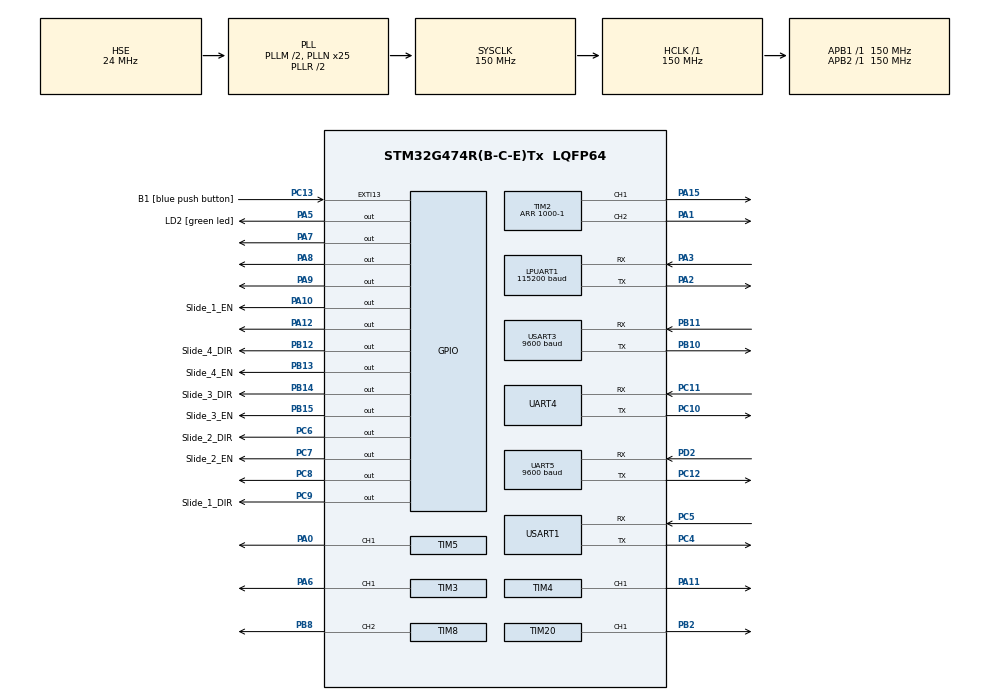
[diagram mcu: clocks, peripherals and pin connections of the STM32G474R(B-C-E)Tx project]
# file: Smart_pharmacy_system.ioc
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LPUART1.BaudRate=115200
Mcu.Family=STM32G4
Mcu.Name=STM32G474R(B-C-E)Tx
Mcu.Package=LQFP64
NVIC.EXTI15_10_IRQn=true\:0\:0\:false\:false\:true\:true\:true\:true
NVIC.LPUART1_IRQn=true\:0\:0\:false\:false\:true\:true\:true\:true
NVIC.PriorityGroup=NVIC_PRIORITYGROUP_4
NVIC.TIM1_CC_IRQn=true\:0\:0\:false\:false\:true\:true\:true\:true
NVIC.TIM20_BRK_IRQn=true\:0\:0\:false\:false\:true\:true\:true\:true
NVIC.TIM20_CC_IRQn=true\:0\:0\:false\:false\:true\:true\:true\:true
NVIC.TIM20_TRG_COM_IRQn=true\:0\:0\:false\:false\:true\:true\:true\:true
NVIC.TIM20_UP_IRQn=true\:0\:0\:false\:false\:true\:true\:true\:true
NVIC.TIM2_IRQn=true\:0\:0\:false\:false\:true\:true\:true\:true
NVIC.TIM3_IRQn=true\:0\:0\:false\:false\:true\:true\:true\:true
NVIC.TIM4_IRQn=true\:0\:0\:true\:false\:true\:true\:true\:true
NVIC.TIM5_IRQn=true\:0\:0\:false\:false\:true\:true\:true\:true
NVIC.TIM8_BRK_IRQn=true\:0\:0\:false\:false\:true\:true\:true\:true
NVIC.TIM8_CC_IRQn=true\:0\:0\:false\:false\:true\:true\:true\:true
NVIC.TIM8_TRG_COM_IRQn=true\:0\:0\:false\:false\:true\:true\:true\:true
NVIC.TIM8_UP_IRQn=true\:0\:0\:false\:false\:true\:true\:true\:true
NVIC.UART4_IRQn=true\:2\:0\:true\:false\:true\:true\:true\:true
NVIC.USART1_IRQn=true\:2\:0\:true\:false\:true\:true\:true\:true
NVIC.USART3_IRQn=true\:0\:0\:false\:false\:true\:true\:true\:true
PA0.Signal=S_TIM5_CH1
PA1.Signal=S_TIM2_CH2
PA10.GPIO_Label=Slide_1_EN
PA10.Signal=GPIO_Output
PA11.Signal=S_TIM4_CH1
PA12.Signal=GPIO_Output
PA13.GPIO_Label=T_SWDIO
PA13.Mode=Serial_Wire
PA13.Signal=SYS_JTMS-SWDIO
PA14.GPIO_Label=T_SWCLK
PA14.Mode=Serial_Wire
PA14.Signal=SYS_JTCK-SWCLK
PA15.Signal=S_TIM2_CH1
PA2.Mode=Asynchronous
PA2.Signal=LPUART1_TX
PA3.Mode=Asynchronous
PA3.Signal=LPUART1_RX
PA5.GPIO_Label=LD2 [green led]
PA5.Signal=GPIO_Output
PA6.Signal=S_TIM3_CH1
PA7.Signal=GPIO_Output
PA8.Signal=GPIO_Output
PA9.Signal=GPIO_Output
PB10.Mode=Asynchronous
PB10.Signal=USART3_TX
PB11.Mode=Asynchronous
PB11.Signal=USART3_RX
PB12.GPIO_Label=Slide_4_DIR
PB12.Signal=GPIO_Output
PB13.GPIO_Label=Slide_4_EN
PB13.Signal=GPIO_Output
PB14.GPIO_Label=Slide_3_DIR
PB14.Signal=GPIO_Output
PB15.GPIO_Label=Slide_3_EN
PB15.Signal=GPIO_Output
PB2.Mode=PWM Generation1 CH1
PB2.Signal=TIM20_CH1
PB3.GPIO_Label=T_SWO
PB3.Signal=SYS_JTDO-SWO
PB8-BOOT0.Signal=S_TIM8_CH2
PC10.Mode=Asynchronous
PC10.Signal=UART4_TX
PC11.Mode=Asynchronous
PC11.Signal=UART4_RX
PC12.Mode=Asynchronous
PC12.Signal=UART5_TX
PC13.GPIO_Label=B1 [blue push button]
PC13.Signal=GPXTI13
PC14-OSC32_IN.Mode=LSE-External-Oscillator
PC14-OSC32_IN.Signal=RCC_OSC32_IN
PC15-OSC32_OUT.Mode=LSE-External-Oscillator
PC15-OSC32_OUT.Signal=RCC_OSC32_OUT
PC4.Mode=Asynchronous
PC4.Signal=USART1_TX
PC5.Mode=Asynchronous
PC5.Signal=USART1_RX
PC6.GPIO_Label=Slide_2_DIR
PC6.Signal=GPIO_Output
PC7.GPIO_Label=Slide_2_EN
PC7.Signal=GPIO_Output
PC8.Signal=GPIO_Output
PC9.GPIO_Label=Slide_1_DIR
PC9.Signal=GPIO_Output
PD2.Mode=Asynchronous
PD2.Signal=UART5_RX
PF0-OSC_IN.Mode=HSE-External-Oscillator
PF0-OSC_IN.Signal=RCC_OSC_IN
PF1-OSC_OUT.Mode=HSE-External-Oscillator
PF1-OSC_OUT.Signal=RCC_OSC_OUT
ProjectManager.HeapSize=0x200
ProjectManager.StackSize=0x400
ProjectManager.TargetToolchain=MDK-ARM V5.32
RCC.ADC12Freq_Value=150000000
RCC.ADC345Freq_Value=150000000
RCC.AHBFreq_Value=150000000
RCC.APB1Freq_Value=150000000
RCC.APB1TimFreq_Value=150000000
RCC.APB2Freq_Value=150000000
RCC.APB2TimFreq_Value=150000000
RCC.CortexFreq_Value=150000000
RCC.EXTERNAL_CLOCK_VALUE=12288000
RCC.HCLKFreq_Value=150000000
RCC.HSE_VALUE=24000000
RCC.HSI48_VALUE=48000000
RCC.HSI_VALUE=16000000
RCC.PLLM=RCC_PLLM_DIV2
RCC.PLLN=25
RCC.PLLSourceVirtual=RCC_PLLSOURCE_HSE
RCC.RTCClockSelection=RCC_RTCCLKSOURCE_LSE
RCC.SYSCLKFreq_VALUE=150000000
RCC.SYSCLKSource=RCC_SYSCLKSOURCE_PLLCLK
RCC.USBFreq_Value=150000000
RCC.VCOOutputFreq_Value=300000000
RTC.AsynchPrediv=125
RTC.SynchPrediv=6000
SH.S_TIM2_CH1.0=TIM2_CH1,PWM Generation1 CH1
SH.S_TIM2_CH2.0=TIM2_CH2,PWM Generation2 CH2
SH.S_TIM3_CH1.0=TIM3_CH1,PWM Generation1 CH1
SH.S_TIM4_CH1.0=TIM4_CH1,PWM Generation1 CH1
SH.S_TIM5_CH1.0=TIM5_CH1,PWM Generation1 CH1
SH.S_TIM8_CH2.0=TIM8_CH2,PWM Generation2 CH2
TIM1.PeriodNoDither=65535
TIM1.Prescaler=149
TIM2.Channel-PWM\ Generation1\ CH1=TIM_CHANNEL_1
TIM2.Channel-PWM\ Generation2\ CH2=TIM_CHANNEL_2
TIM2.PeriodNoDither=1000-1
TIM2.PulseNoDither_1=500
TIM2.PulseNoDither_2=500
TIM20.Channel-PWM\ Generation1\ CH1=TIM_CHANNEL_1
TIM20.PeriodNoDither=1000-1
TIM20.Prescaler=150-1
TIM20.PulseNoDither_1=500
TIM3.Channel-PWM\ Generation1\ CH1=TIM_CHANNEL_1
TIM3.PeriodNoDither=1000-1
TIM4.Channel-PWM\ Generation1\ CH1=TIM_CHANNEL_1
TIM4.PeriodNoDither=1000-1
TIM4.Prescaler=150-1
TIM4.PulseNoDither_1=500
TIM5.Channel-PWM\ Generation1\ CH1=TIM_CHANNEL_1
TIM5.PeriodNoDither=1000-1
TIM5.Prescaler=150-1
TIM5.PulseNoDither_1=500
TIM8.Channel-PWM\ Generation2\ CH2=TIM_CHANNEL_2
TIM8.PeriodNoDither=1000-1
TIM8.Prescaler=150-1
TIM8.PulseNoDither_2=500
UART5.BaudRate=9600
USART1.VirtualMode-Asynchronous=VM_ASYNC
USART3.BaudRate=9600
USART3.VirtualMode-Asynchronous=VM_ASYNC
VP_RTC_VS_RTC_Activate.Mode=RTC_Enabled
VP_RTC_VS_RTC_Calendar.Mode=RTC_Calendar
VP_SYS_VS_DBSignals.Mode=DisableDeadBatterySignals
VP_TIM1_VS_ClockSourceINT.Mode=Internal
VP_TIM3_VS_ClockSourceINT.Mode=Internal
board=NUCLEO-G474RE

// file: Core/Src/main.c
/* USER CODE BEGIN Header */
/**
  ******************************************************************************
  * @file           : main.c
  * @brief          : Main program body
  ******************************************************************************
  * @attention
  *
  * Copyright (c) 2024 STMicroelectronics.
  * All rights reserved.
  *
  * This software is licensed under terms that can be found in the LICENSE file
  * in the root directory of this software component.
  * If no LICENSE file comes with this software, it is provided AS-IS.
  *
  ******************************************************************************
  */
/* USER CODE END Header */
#include "main.h"
#include "usart.h"
#include "rtc.h"
#include "tim.h"
#include "gpio.h"

/* USER CODE BEGIN Includes */
#include "esp8266.h"
#include "onenet.h"
#include "dht11.h"
#include "voice.h"
#include "motor.h"
#include "task.h"
#include "string.h"
#include "stdio.h"
#include "warehouse.h"
#include "Small_slide_move.h"
#include "display.h"

/* USER CODE END Includes */

/* USER CODE BEGIN PTD */
#define FRAME_HEADER 0x5A         // 定义帧头为0x5A
#define MAX_FRAME_LENGTH 512      // 定义数据帧的最大长度

uint8_t uart_buff[MAX_FRAME_LENGTH] = {0};
uint8_t uart_char;
uint8_t receive_num = 0;
uint8_t receiving_frame = 0;      // 标记是否在接收数据帧
uint16_t expected_length = 0;     // 期望接收到的数据帧长度

/* USER CODE END PTD */

/* USER CODE BEGIN PD */
//wifi模块
uint32_t send_time = 0;
unsigned char *dataPtr = NULL;
extern uint8_t Uart1_RxData;
extern uint8_t rx_flag;
//出药模块
uint32_t med_tick = 0;

//RTC
RTC_DateTypeDef date;
RTC_TimeTypeDef time;

uint8_t Send_buff[20];
/* USER CODE END PD */

/* USER CODE BEGIN PV */

void RFID_pro(void);
void Track_Init(void);
/* USER CODE END PV */

void SystemClock_Config(void);

int main(void)
{

  /* MCU Configuration--------------------------------------------------------*/

  /* Reset of all peripherals, Initializes the Flash interface and the Systick. */
  HAL_Init();

  /* Configure the system clock */
  SystemClock_Config();

  /* Initialize all configured peripherals */
  MX_GPIO_Init();
  MX_LPUART1_UART_Init();
  MX_USART1_UART_Init();
  MX_TIM1_Init();
  MX_UART4_Init();
  MX_UART5_Init();
  MX_TIM2_Init();
  MX_TIM3_Init();
  MX_USART3_UART_Init();
  MX_RTC_Init();
  MX_TIM4_Init();
  MX_TIM5_Init();
  MX_TIM8_Init();
  MX_TIM20_Init();
  /* USER CODE BEGIN 2 */

	__HAL_TIM_SetCompare(&htim3,TIM_CHANNEL_1,500);//不影响RFID
	HAL_UART_Receive_IT(&huart1,(uint8_t *)&Uart1_RxData, 1);//开启串口中断   本句不影响RFID
	HAL_UART_Receive_IT(&huart4,(uint8_t *)&uart_char,1);
	DH11_Task();
	voice_uart_printf(louder);
	HAL_Delay(1000);
	voice_uart_printf(louder);
	HAL_Delay(1000);
	voice_uart_printf(Welcome_voice);//播放欢迎语音

	RFID_Init();
	UsartPrintf(DEBUG_UART, "Info: RFID init success\r\n");

	//履带电机驱动
	Track_Init();
	UsartPrintf(DEBUG_UART, "Info: track init success\r\n");
	//语音播报：系统链接网络中。。。。。
	HAL_Delay(5000);
	voice_uart_printf(Link_network);
	ESP8266_Init();	//本句影响RFID,连上wifi模块不影响RFID
	while(OneNet_DevLink());//本句不影响RFID
	HAL_Delay(1000);
	OneNET_Subscribe();

	//语音播报：链接网络完成
	HAL_Delay(2000);
	voice_uart_printf(Link_network_compete);

  /* USER CODE END 2 */

  /* Infinite loop */
  /* USER CODE BEGIN WHILE */

  while (1)
  {
//		SmallSlide_pro(SLIDE3);
		HAL_RTC_GetTime(&hrtc,&time,RTC_FORMAT_BIN);
		HAL_RTC_GetDate(&hrtc,&date,RTC_FORMAT_BIN);
    /* USER CODE END WHILE */

    /* USER CODE BEGIN 3 */
		/*检查库存*/
		Warehouse_Management();

		/*上传温湿度信息	给网关*/
		if(uwTick - send_time > 5000)
		{
			DH11_Task();//本句影响RFID
			OneNet_SendData();
			send_time = uwTick;
			ESP8266_Clear();
		}

		/*获取网关指令*/
		dataPtr = ESP8266_GetIPD(0);
		if(dataPtr != NULL)
				OneNet_RevPro(dataPtr);

		/*出药*/
		medicine_pro();
		/*设定时间处理函数*/
		Timed_task(time.Hours,time.Minutes);

		/*药方识别处理*/
		Prescription_task();
	}
  /* USER CODE END 3 */
}

void SystemClock_Config(void)
{
  RCC_OscInitTypeDef RCC_OscInitStruct = {0};
  RCC_ClkInitTypeDef RCC_ClkInitStruct = {0};

  /** Configure the main internal regulator output voltage
  */
  HAL_PWREx_ControlVoltageScaling(PWR_REGULATOR_VOLTAGE_SCALE1);

  /** Configure LSE Drive Capability
  */
  HAL_PWR_EnableBkUpAccess();
  __HAL_RCC_LSEDRIVE_CONFIG(RCC_LSEDRIVE_LOW);

  /** Initializes the RCC Oscillators according to the specified parameters
  * in the RCC_OscInitTypeDef structure.
  */
  RCC_OscInitStruct.OscillatorType = RCC_OSCILLATORTYPE_HSE|RCC_OSCILLATORTYPE_LSE;
  RCC_OscInitStruct.HSEState = RCC_HSE_ON;
  RCC_OscInitStruct.LSEState = RCC_LSE_ON;
  RCC_OscInitStruct.PLL.PLLState = RCC_PLL_ON;
  RCC_OscInitStruct.PLL.PLLSource = RCC_PLLSOURCE_HSE;
  RCC_OscInitStruct.PLL.PLLM = RCC_PLLM_DIV2;
  RCC_OscInitStruct.PLL.PLLN = 25;
  RCC_OscInitStruct.PLL.PLLP = RCC_PLLP_DIV2;
  RCC_OscInitStruct.PLL.PLLQ = RCC_PLLQ_DIV2;
  RCC_OscInitStruct.PLL.PLLR = RCC_PLLR_DIV2;
  if (HAL_RCC_OscConfig(&RCC_OscInitStruct) != HAL_OK)
  {
    Error_Handler();
  }

  /** Initializes the CPU, AHB and APB buses clocks
  */
  RCC_ClkInitStruct.ClockType = RCC_CLOCKTYPE_HCLK|RCC_CLOCKTYPE_SYSCLK
                              |RCC_CLOCKTYPE_PCLK1|RCC_CLOCKTYPE_PCLK2;
  RCC_ClkInitStruct.SYSCLKSource = RCC_SYSCLKSOURCE_PLLCLK;
  RCC_ClkInitStruct.AHBCLKDivider = RCC_SYSCLK_DIV1;
  RCC_ClkInitStruct.APB1CLKDivider = RCC_HCLK_DIV1;
  RCC_ClkInitStruct.APB2CLKDivider = RCC_HCLK_DIV1;

  if (HAL_RCC_ClockConfig(&RCC_ClkInitStruct, FLASH_LATENCY_4) != HAL_OK)
  {
    Error_Handler();
  }
}

/* USER CODE BEGIN 4 */
void HAL_UART_RxCpltCallback(UART_HandleTypeDef *huart) {
    if (huart->Instance == UART4) {
        if (uart_char == FRAME_HEADER && !receiving_frame) {
            receiving_frame = 1;   // 标记开始接收数据帧
            receive_num = 0;       // 重置接收计数
            expected_length = 0;   // 重置期望长度
            uart_buff[receive_num++] = uart_char; // 将帧头存入缓冲区
        } else if (receiving_frame) {
            uart_buff[receive_num++] = uart_char; // 存储接收到的字节

            // 确定帧的长度，第六七字节表示帧的长度
					if (receive_num == 7) {
                expected_length = (uart_buff[5] << 8) | uart_buff[6];  // 第六七字节表示帧的长度
            }

            // 检查是否接收到完整帧
            if ((expected_length > 0) && (receive_num == expected_length + 7)) {
//                process_frame(uart_buff, receive_num); // 处理完整的数据帧
                receiving_frame = 0;   // 重置接收标记
                receive_num = 0;       // 重置接收计数
                expected_length = 0;   // 重置期望长度
								if(uart_buff[17]==0x6F&&uart_buff[18]==0xE7&&uart_buff[19]==0x3D&&uart_buff[20]==0x70){

								}
								else if(uart_buff[37]==0x50 && uart_buff[40]==0xC2 && uart_buff[41]==0x11)
								{

									/*消食片仓储剩余量*/
									exist_flag_A10 = 1;
								}
								else if(uart_buff[37]==0x40 && uart_buff[40]==0xC2 && uart_buff[41]==0x0D)
								{

									/*消食片仓储剩余量*/
									exist_flag_A9 = 1;
								}
								else if(uart_buff[37]==0x40 && uart_buff[40]==0xC1 && uart_buff[41]==0xFD)
								{

										/*藿香正气胶囊仓储剩余量*/
									exist_flag_A8 = 1;
								}
								else if(uart_buff[37]==0x50 && uart_buff[40]==0xC2 && uart_buff[41]==0x09)
								{

									/*藿香正气胶囊仓储剩余量*/
									exist_flag_A7 = 1;
								}
								else if(uart_buff[37]==0x50 && uart_buff[40]==0xC2 && uart_buff[41]==0x05)
								{

									/*维生素B仓储剩余量*/
									exist_flag_A6 = 1;
								}
								else if(uart_buff[37]==0x40 && uart_buff[40]==0xC2 && uart_buff[41]==0x01)
								{

									/*维生素B仓储剩余量*/
									exist_flag_A5 = 1;
								}
								else if(uart_buff[37]==0x40 && uart_buff[40]==0xC2 && uart_buff[41]==0x15)
								{

									/*胃康灵仓储剩余量*/
									exist_flag_A4 = 1;
								}
								else if(uart_buff[37]==0x40 && uart_buff[40]==0xC2 && uart_buff[41]==0x19)
								{

									/*胃康灵仓储剩余量*/
									exist_flag_A3 = 1;
								}
								else if(uart_buff[37]==0x50 && uart_buff[40]==0xC1 && uart_buff[41]==0xF9)
								{
									/*可用做人员识别*/

									exist_flag_A2 = 1;
								}
								else if(uart_buff[37]==0x50 && uart_buff[40]==0xC1 && uart_buff[41]==0xF5)
								{
									/*可用做人员识别*/

									exist_flag_A1 = 1;
								}
            }
        }

        // 重新启动UART中断接收
        HAL_UART_Receive_IT(&huart4, &uart_char, 1);
    }
}

/*履带初始化*/
void Track_Init(void)
{
	HAL_GPIO_WritePin(GPIOA,GPIO_PIN_8,GPIO_PIN_SET);//改变方向
	HAL_GPIO_WritePin(GPIOA,GPIO_PIN_9,GPIO_PIN_RESET);
	__HAL_TIM_SET_COMPARE(&htim2,TIM_CHANNEL_2,250);//改变速度
}

/* USER CODE END 4 */

void Error_Handler(void)
{
  __disable_irq();
  while (1)
  {
  }
}
